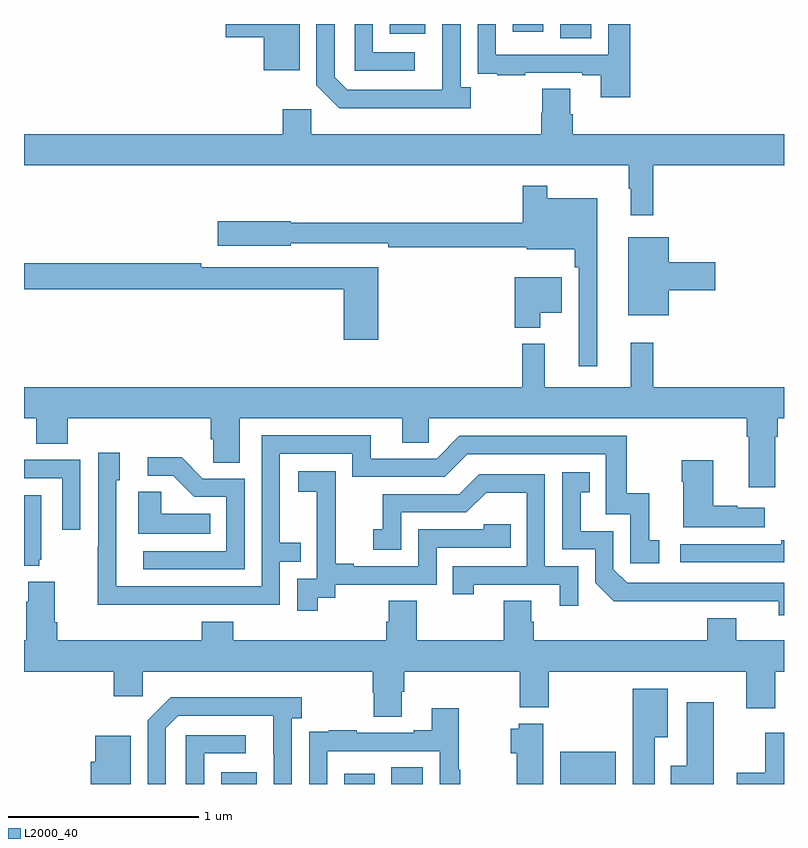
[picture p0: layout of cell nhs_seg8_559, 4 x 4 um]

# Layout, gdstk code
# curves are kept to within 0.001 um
import gdstk
lib = gdstk.Library(unit=1e-6, precision=1e-09)
def R(c, l, rs):  # rectangles x0, y0, x1, y1
    for r in rs: c.add(gdstk.rectangle(r[:2], r[2:], *l))
def P(c, l, *ps):  # polygons
    for p in ps: c.add(gdstk.Polygon(p, *l))
L2000_40 = (2000, 40)

nhs_seg8_559 = lib.new_cell('nhs_seg8_559')
R(nhs_seg8_559, L2000_40, [(148.037,1123.9,148.225,1123.963), (148.685,1123.9,148.846,1123.954), (148.934,1123.9,149.098,1123.988), (149.822,1123.9,150.115,1124.071), (149.822,1127.824,149.986,1127.9), (148.925,1127.849,149.113,1127.9), (149.573,1127.859,149.734,1127.9)])
P(nhs_seg8_559, L2000_40, [(149.35,1127.566),(149.298,1127.566),(149.298,1127.9),(149.202,1127.9),(149.201,1127.553),(148.701,1127.553),(148.635,1127.619),(148.635,1127.9),(148.539,1127.9),(148.539,1127.577),(148.66,1127.456),(149.35,1127.456)],
  [(149.056,1127.751),(148.836,1127.751),(148.836,1127.9),(148.74,1127.9),(148.74,1127.655),(149.056,1127.655)],
  [(148.45,1127.9),(148.062,1127.9),(148.062,1127.831),(148.262,1127.831),(148.262,1127.657),(148.45,1127.657)],
  [(150.191,1127.9),(150.075,1127.9),(150.075,1127.739),(149.484,1127.739),(149.484,1127.9),(149.388,1127.9),(149.388,1127.746),(149.389,1127.746),(149.389,1127.637),(149.491,1127.637),(149.491,1127.631),(149.639,1127.631),(149.639,1127.643),(149.939,1127.643),(149.939,1127.631),(150.035,1127.631),(150.035,1127.514),(150.191,1127.514)],
  [(150.311,1127.156),(151,1127.156),(151,1127.32),(149.888,1127.32),(149.888,1127.426),(149.875,1127.426),(149.875,1127.558),(149.728,1127.558),(149.728,1127.433),(149.723,1127.433),(149.723,1127.32),(148.512,1127.32),(148.512,1127.452),(148.361,1127.452),(148.361,1127.32),(147,1127.32),(147,1127.156),(150.183,1127.156),(150.183,1127.033),(150.194,1127.033),(150.194,1126.893),(150.311,1126.893)],
  [(150.016,1126.984),(149.755,1126.984),(149.755,1127.05),(149.626,1127.05),(149.626,1126.855),(148.404,1126.855),(148.404,1126.863),(148.02,1126.863),(148.02,1126.733),(148.404,1126.733),(148.404,1126.746),(148.918,1126.746),(148.918,1126.726),(149.645,1126.726),(149.645,1126.715),(149.899,1126.715),(149.899,1126.619),(149.919,1126.619),(149.919,1126.098),(150.016,1126.098)],
  [(150.394,1126.499),(150.637,1126.499),(150.637,1126.646),(150.394,1126.646),(150.394,1126.777),(150.179,1126.777),(150.179,1126.367),(150.394,1126.367)],
  [(148.865,1126.62),(147.932,1126.62),(147.932,1126.64),(147,1126.64),(147,1126.504),(148.682,1126.504),(148.682,1126.239),(148.865,1126.239)],
  [(149.716,1126.379),(149.83,1126.379),(149.83,1126.567),(149.582,1126.567),(149.582,1126.301),(149.716,1126.301)],
  [(150.955,1125.728),(150.968,1125.728),(150.968,1125.824),(151,1125.824),(151,1125.988),(150.311,1125.988),(150.311,1126.222),(150.194,1126.222),(150.194,1125.988),(149.741,1125.988),(149.741,1126.216),(149.623,1126.216),(149.623,1125.988),(147,1125.988),(147,1125.824),(147.065,1125.824),(147.065,1125.691),(147.23,1125.691),(147.23,1125.824),(147.983,1125.824),(147.983,1125.715),(147.996,1125.715),(147.996,1125.592),(148.135,1125.592),(148.135,1125.824),(148.991,1125.824),(148.991,1125.697),(149.13,1125.697),(149.13,1125.824),(150.803,1125.824),(150.803,1125.728),(150.815,1125.728),(150.815,1125.462),(150.955,1125.462)],
  [(147.851,1124.844),(148.347,1124.844),(148.347,1125.069),(148.457,1125.069),(148.457,1125.17),(148.347,1125.17),(148.347,1125.639),(148.728,1125.639),(148.728,1125.516),(149.214,1125.516),(149.334,1125.636),(150.063,1125.636),(150.063,1125.321),(150.192,1125.321),(150.192,1125.063),(150.343,1125.063),(150.343,1125.183),(150.29,1125.183),(150.29,1125.43),(150.172,1125.43),(150.172,1125.732),(149.292,1125.732),(149.172,1125.612),(148.825,1125.612),(148.825,1125.735),(148.251,1125.735),(148.251,1124.94),(147.486,1124.94),(147.486,1125.498),(147.505,1125.498),(147.505,1125.643),(147.39,1125.643),(147.39,1125.149),(147.388,1125.149),(147.388,1124.843)],
  [(148.161,1125.507),(147.942,1125.507),(147.829,1125.62),(147.651,1125.62),(147.651,1125.522),(147.785,1125.522),(147.896,1125.411),(148.065,1125.411),(148.065,1125.126),(147.627,1125.126),(147.627,1125.03),(148.161,1125.03)],
  [(147.297,1125.606),(147,1125.606),(147,1125.51),(147.201,1125.51),(147.201,1125.237),(147.297,1125.237)],
  [(150.898,1125.355),(150.755,1125.355),(150.755,1125.365),(150.628,1125.365),(150.628,1125.604),(150.463,1125.604),(150.463,1125.491),(150.47,1125.491),(150.47,1125.251),(150.898,1125.251)],
  [(148.546,1124.881),(148.638,1124.881),(148.638,1124.949),(149.172,1124.949),(149.172,1125.144),(149.561,1125.144),(149.561,1125.267),(149.421,1125.267),(149.421,1125.24),(149.076,1125.24),(149.076,1125.045),(148.735,1125.045),(148.735,1125.058),(148.64,1125.058),(148.64,1125.341),(148.641,1125.341),(148.641,1125.547),(148.443,1125.547),(148.443,1125.437),(148.541,1125.437),(148.541,1125.209),(148.542,1125.209),(148.542,1124.979),(148.437,1124.979),(148.437,1124.811),(148.546,1124.811)],
  [(151,1124.958),(150.174,1124.958),(150.102,1125.03),(150.102,1125.231),(149.929,1125.231),(149.929,1125.435),(149.978,1125.435),(149.978,1125.541),(149.832,1125.541),(149.832,1125.135),(150.006,1125.135),(150.006,1124.958),(150.104,1124.861),(150.972,1124.862),(150.972,1124.789),(151,1124.789)],
  [(149.916,1125.045),(149.742,1125.045),(149.742,1125.531),(149.396,1125.531),(149.291,1125.426),(148.888,1125.426),(148.888,1125.241),(148.839,1125.241),(148.839,1125.132),(148.986,1125.132),(148.986,1125.33),(149.328,1125.33),(149.432,1125.434),(149.646,1125.434),(149.646,1125.045),(149.257,1125.045),(149.257,1124.898),(149.368,1124.898),(149.368,1124.949),(149.819,1124.949),(149.819,1124.838),(149.916,1124.838)],
  [(147.98,1125.322),(147.723,1125.322),(147.723,1125.437),(147.602,1125.437),(147.602,1125.218),(147.98,1125.218)],
  [(147.08,1125.081),(147.091,1125.081),(147.091,1125.421),(147,1125.421),(147,1125.05),(147.08,1125.05)],
  [(151,1125.182),(150.985,1125.182),(150.985,1125.162),(150.453,1125.162),(150.453,1125.066),(151,1125.066)],
  [(150.748,1124.773),(150.596,1124.773),(150.596,1124.656),(149.684,1124.656),(149.684,1124.754),(149.671,1124.754),(149.671,1124.864),(149.524,1124.864),(149.524,1124.656),(149.067,1124.656),(149.067,1124.864),(148.919,1124.864),(148.919,1124.754),(148.907,1124.754),(148.907,1124.656),(148.1,1124.656),(148.1,1124.755),(147.935,1124.755),(147.935,1124.656),(147.176,1124.656),(147.176,1124.752),(147.163,1124.752),(147.163,1124.965),(147.023,1124.965),(147.023,1124.858),(147.011,1124.858),(147.011,1124.656),(147,1124.656),(147,1124.492),(147.473,1124.492),(147.473,1124.361),(147.624,1124.361),(147.624,1124.492),(148.835,1124.492),(148.835,1124.379),(148.84,1124.379),(148.84,1124.254),(148.987,1124.254),(148.987,1124.386),(149,1124.386),(149,1124.492),(149.608,1124.492),(149.608,1124.303),(149.763,1124.303),(149.763,1124.492),(150.8,1124.492),(150.8,1124.298),(150.953,1124.298),(150.953,1124.492),(151,1124.492),(151,1124.656),(150.748,1124.656)],
  [(150.319,1124.147),(150.388,1124.147),(150.388,1124.401),(150.203,1124.401),(150.203,1123.9),(150.319,1123.9)],
  [(147.747,1124.193),(147.813,1124.259),(148.313,1124.259),(148.314,1123.9),(148.41,1123.9),(148.41,1124.246),(148.462,1124.246),(148.462,1124.356),(147.772,1124.356),(147.651,1124.235),(147.651,1123.9),(147.747,1123.9)],
  [(150.631,1124.329),(150.488,1124.329),(150.488,1123.996),(150.404,1123.996),(150.404,1123.9),(150.631,1123.9)],
  [(148.596,1124.073),(149.187,1124.073),(149.187,1123.9),(149.296,1123.9),(149.296,1123.976),(149.288,1123.976),(149.288,1124.299),(149.147,1124.299),(149.147,1124.182),(149.051,1124.182),(149.051,1124.169),(148.751,1124.169),(148.751,1124.182),(148.603,1124.182),(148.603,1124.175),(148.501,1124.175),(148.501,1124.066),(148.5,1124.066),(148.5,1123.9),(148.596,1123.9)],
  [(149.734,1124.218),(149.604,1124.218),(149.604,1124.191),(149.561,1124.191),(149.561,1124.062),(149.593,1124.062),(149.593,1123.9),(149.734,1123.9)],
  [(151,1124.17),(150.902,1124.17),(150.902,1123.959),(150.75,1123.959),(150.75,1123.9),(151,1123.9)],
  [(147.948,1124.061),(148.168,1124.061),(148.168,1124.157),(147.852,1124.157),(147.852,1123.9),(147.948,1123.9)],
  [(147.562,1124.155),(147.374,1124.155),(147.374,1124.016),(147.35,1124.016),(147.35,1123.9),(147.562,1123.9)])

lib.write_gds('nhs_seg8_559.gds')
